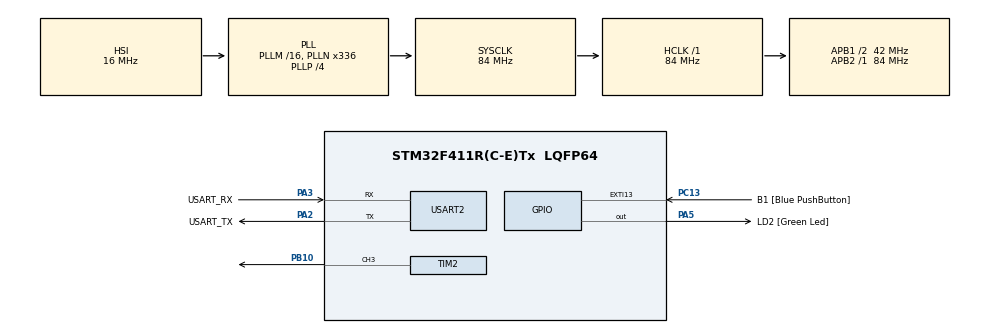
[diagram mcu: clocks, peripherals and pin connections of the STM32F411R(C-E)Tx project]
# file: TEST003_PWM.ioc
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Mcu.Family=STM32F4
Mcu.Name=STM32F411R(C-E)Tx
Mcu.Package=LQFP64
NVIC.EXTI15_10_IRQn=true\:0\:0\:false\:false\:true\:true\:true\:true
NVIC.PriorityGroup=NVIC_PRIORITYGROUP_0
PA13.GPIO_Label=TMS
PA13.Mode=Serial_Wire
PA13.Signal=SYS_JTMS-SWDIO
PA14.GPIO_Label=TCK
PA14.Mode=Serial_Wire
PA14.Signal=SYS_JTCK-SWCLK
PA2.GPIO_Label=USART_TX
PA2.Mode=Asynchronous
PA2.Signal=USART2_TX
PA3.GPIO_Label=USART_RX
PA3.Mode=Asynchronous
PA3.Signal=USART2_RX
PA5.GPIO_Label=LD2 [Green Led]
PA5.Signal=GPIO_Output
PB10.Signal=S_TIM2_CH3
PB3.GPIO_Label=SWO
PB3.Signal=SYS_JTDO-SWO
PC13-ANTI_TAMP.GPIO_Label=B1 [Blue PushButton]
PC13-ANTI_TAMP.GPIO_ModeDefaultEXTI=GPIO_MODE_IT_FALLING
PC13-ANTI_TAMP.Signal=GPXTI13
PC14-OSC32_IN.Mode=LSE-External-Oscillator
PC14-OSC32_IN.Signal=RCC_OSC32_IN
PC15-OSC32_OUT.Mode=LSE-External-Oscillator
PC15-OSC32_OUT.Signal=RCC_OSC32_OUT
PH0\ -\ OSC_IN.Mode=HSE-External-Clock-Source
PH0\ -\ OSC_IN.Signal=RCC_OSC_IN
PH1\ -\ OSC_OUT.Mode=HSE-External-Clock-Source
PH1\ -\ OSC_OUT.Signal=RCC_OSC_OUT
ProjectManager.HeapSize=0x200
ProjectManager.StackSize=0x400
ProjectManager.TargetToolchain=STM32CubeIDE
RCC.48MHZClocksFreq_Value=84000000
RCC.AHBFreq_Value=84000000
RCC.APB1CLKDivider=RCC_HCLK_DIV2
RCC.APB1Freq_Value=42000000
RCC.APB1TimFreq_Value=84000000
RCC.APB2Freq_Value=84000000
RCC.APB2TimFreq_Value=84000000
RCC.CortexFreq_Value=84000000
RCC.FLatency-AdvancedSettings=FLASH_LATENCY_2
RCC.HCLKFreq_Value=84000000
RCC.HSE_VALUE=8000000
RCC.HSI_VALUE=16000000
RCC.PLLN=336
RCC.PLLP=RCC_PLLP_DIV4
RCC.SYSCLKFreq_VALUE=84000000
RCC.SYSCLKSource=RCC_SYSCLKSOURCE_PLLCLK
RCC.VCOOutputFreq_Value=336000000
SH.S_TIM2_CH3.0=TIM2_CH3,PWM Generation3 CH3
TIM2.Channel-PWM\ Generation3\ CH3=TIM_CHANNEL_3
TIM2.Period=(1000)-1
TIM2.Prescaler=8400-1
USART2.VirtualMode=VM_ASYNC
board=NUCLEO-F411RE

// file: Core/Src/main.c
/* USER CODE BEGIN Header */
/**
  ******************************************************************************
  * @file           : main.c
  * @brief          : Main program body
  ******************************************************************************
  * @attention
  *
  * Copyright (c) 2024 STMicroelectronics.
  * All rights reserved.
  *
  * This software is licensed under terms that can be found in the LICENSE file
  * in the root directory of this software component.
  * If no LICENSE file comes with this software, it is provided AS-IS.
  *
  ******************************************************************************
  */
/* USER CODE END Header */
#include "main.h"

TIM_HandleTypeDef htim2;

UART_HandleTypeDef huart2;

void SystemClock_Config(void);
static void MX_GPIO_Init(void);
static void MX_USART2_UART_Init(void);
static void MX_TIM2_Init(void);

/* USER CODE BEGIN 0 */
int mux;
//float mux2;
enum { Do = 0, Re, Mi, Fa, Sol, La ,Ci}; //치환 D0
double pitchF[] = {523.25, 587.32, 659.25, 698.45, 783.99, 880, 987.76};
int p3[7];
int arr = 1000, clk = 84000000L;
void calcPitch() //PSC value
{
	for(int i = 0; i < 7; i++)
	{
		p3[i] = clk / (pitchF[i] * arr / 2);
	}
}

void PlaySound(int pIdx, int rtm)
{
	htim2.Instance ->PSC = p3[pIdx];	 //실변수는 .
	HAL_Delay(2000 / rtm);
}

int Song[] = {Sol,Sol,Mi,Fa,Sol,La,La,Sol,-1};

int Rythm[] = {4,4,8,8,4,4,4,2};

/*void HAL_GPIO_EXTI_Callback(uint16_t GPIO_Pin)
{
	if (++mux > 20) mux = 1;
}*/

/* USER CODE END 0 */

int main(void)
{

  /* MCU Configuration--------------------------------------------------------*/

  /* Reset of all peripherals, Initializes the Flash interface and the Systick. */
  HAL_Init();

  /* Configure the system clock */
  SystemClock_Config();

  /* Initialize all configured peripherals */
  MX_GPIO_Init();
  MX_USART2_UART_Init();
  MX_TIM2_Init();
  /* USER CODE BEGIN 2 */
  ProgramStart("Song");
  calcPitch();
  HAL_TIM_PWM_Start(&htim2, TIM_CHANNEL_3);
  htim2.Instance->CCR3 = htim2.Instance -> ARR / 2; //Duty rate select -> 50%

  /* USER CODE END 2 */

  /* Infinite loop */
  /* USER CODE BEGIN WHILE */
  int sn = 2800;
  mux = 1;
  while (1)
  {
    /* USER CODE END WHILE */

    /* USER CODE BEGIN 3 */

	  //while(Song[i] != -1/*수행조건식*/) for문과 same
	  htim2.Instance->CCR3 = htim2.Instance -> ARR / 2; //Duty rate select -> 50%
	  for (int i = 0; Song[i] != -1; i++)
	  {
		  PlaySound(Song[i], Rythm[i]);
	  }
	  htim2.Instance -> CCR3 = 0; //Duty rate = 0;
	  printf("연주가 끝났습니다. B1 버튼을 누르시면 다시 시작됩니다...\r\n");
	  Wait();
	  HAL_TIM_PWM_Start(&htim2, TIM_CHANNEL_3);

	  //htim2.Instance->PSC = sn / mux;
	  //int f = 84000000L/(htim2.Instance->PSC * htim2.Instance->ARR);
	  //printf("Current Frequency : %d\r\n", f);
  }
  /* USER CODE END 3 */
}

void SystemClock_Config(void)
{
  RCC_OscInitTypeDef RCC_OscInitStruct = {0};
  RCC_ClkInitTypeDef RCC_ClkInitStruct = {0};

  /** Configure the main internal regulator output voltage
  */
  __HAL_RCC_PWR_CLK_ENABLE();
  __HAL_PWR_VOLTAGESCALING_CONFIG(PWR_REGULATOR_VOLTAGE_SCALE1);

  /** Initializes the RCC Oscillators according to the specified parameters
  * in the RCC_OscInitTypeDef structure.
  */
  RCC_OscInitStruct.OscillatorType = RCC_OSCILLATORTYPE_HSI;
  RCC_OscInitStruct.HSIState = RCC_HSI_ON;
  RCC_OscInitStruct.HSICalibrationValue = RCC_HSICALIBRATION_DEFAULT;
  RCC_OscInitStruct.PLL.PLLState = RCC_PLL_ON;
  RCC_OscInitStruct.PLL.PLLSource = RCC_PLLSOURCE_HSI;
  RCC_OscInitStruct.PLL.PLLM = 16;
  RCC_OscInitStruct.PLL.PLLN = 336;
  RCC_OscInitStruct.PLL.PLLP = RCC_PLLP_DIV4;
  RCC_OscInitStruct.PLL.PLLQ = 4;
  if (HAL_RCC_OscConfig(&RCC_OscInitStruct) != HAL_OK)
  {
    Error_Handler();
  }

  /** Initializes the CPU, AHB and APB buses clocks
  */
  RCC_ClkInitStruct.ClockType = RCC_CLOCKTYPE_HCLK|RCC_CLOCKTYPE_SYSCLK
                              |RCC_CLOCKTYPE_PCLK1|RCC_CLOCKTYPE_PCLK2;
  RCC_ClkInitStruct.SYSCLKSource = RCC_SYSCLKSOURCE_PLLCLK;
  RCC_ClkInitStruct.AHBCLKDivider = RCC_SYSCLK_DIV1;
  RCC_ClkInitStruct.APB1CLKDivider = RCC_HCLK_DIV2;
  RCC_ClkInitStruct.APB2CLKDivider = RCC_HCLK_DIV1;

  if (HAL_RCC_ClockConfig(&RCC_ClkInitStruct, FLASH_LATENCY_2) != HAL_OK)
  {
    Error_Handler();
  }
}

static void MX_TIM2_Init(void)
{

  TIM_MasterConfigTypeDef sMasterConfig = {0};
  TIM_OC_InitTypeDef sConfigOC = {0};

  htim2.Instance = TIM2;
  htim2.Init.Prescaler = 8400-1;
  htim2.Init.CounterMode = TIM_COUNTERMODE_UP;
  htim2.Init.Period = (1000)-1;
  htim2.Init.ClockDivision = TIM_CLOCKDIVISION_DIV1;
  htim2.Init.AutoReloadPreload = TIM_AUTORELOAD_PRELOAD_DISABLE;
  if (HAL_TIM_PWM_Init(&htim2) != HAL_OK)
  {
    Error_Handler();
  }
  sMasterConfig.MasterOutputTrigger = TIM_TRGO_RESET;
  sMasterConfig.MasterSlaveMode = TIM_MASTERSLAVEMODE_DISABLE;
  if (HAL_TIMEx_MasterConfigSynchronization(&htim2, &sMasterConfig) != HAL_OK)
  {
    Error_Handler();
  }
  sConfigOC.OCMode = TIM_OCMODE_PWM1;
  sConfigOC.Pulse = 0;
  sConfigOC.OCPolarity = TIM_OCPOLARITY_HIGH;
  sConfigOC.OCFastMode = TIM_OCFAST_DISABLE;
  if (HAL_TIM_PWM_ConfigChannel(&htim2, &sConfigOC, TIM_CHANNEL_3) != HAL_OK)
  {
    Error_Handler();
  }
  HAL_TIM_MspPostInit(&htim2);

}

static void MX_USART2_UART_Init(void)
{

  huart2.Instance = USART2;
  huart2.Init.BaudRate = 115200;
  huart2.Init.WordLength = UART_WORDLENGTH_8B;
  huart2.Init.StopBits = UART_STOPBITS_1;
  huart2.Init.Parity = UART_PARITY_NONE;
  huart2.Init.Mode = UART_MODE_TX_RX;
  huart2.Init.HwFlowCtl = UART_HWCONTROL_NONE;
  huart2.Init.OverSampling = UART_OVERSAMPLING_16;
  if (HAL_UART_Init(&huart2) != HAL_OK)
  {
    Error_Handler();
  }

}

static void MX_GPIO_Init(void)
{
  GPIO_InitTypeDef GPIO_InitStruct = {0};

  /* GPIO Ports Clock Enable */
  __HAL_RCC_GPIOC_CLK_ENABLE();
  __HAL_RCC_GPIOH_CLK_ENABLE();
  __HAL_RCC_GPIOA_CLK_ENABLE();
  __HAL_RCC_GPIOB_CLK_ENABLE();

  /*Configure GPIO pin Output Level */
  HAL_GPIO_WritePin(LD2_GPIO_Port, LD2_Pin, GPIO_PIN_RESET);

  /*Configure GPIO pin : B1_Pin */
  GPIO_InitStruct.Pin = B1_Pin;
  GPIO_InitStruct.Mode = GPIO_MODE_IT_FALLING;
  GPIO_InitStruct.Pull = GPIO_NOPULL;
  HAL_GPIO_Init(B1_GPIO_Port, &GPIO_InitStruct);

  /*Configure GPIO pin : LD2_Pin */
  GPIO_InitStruct.Pin = LD2_Pin;
  GPIO_InitStruct.Mode = GPIO_MODE_OUTPUT_PP;
  GPIO_InitStruct.Pull = GPIO_NOPULL;
  GPIO_InitStruct.Speed = GPIO_SPEED_FREQ_LOW;
  HAL_GPIO_Init(LD2_GPIO_Port, &GPIO_InitStruct);

  /* EXTI interrupt init*/
  HAL_NVIC_SetPriority(EXTI15_10_IRQn, 0, 0);
  HAL_NVIC_EnableIRQ(EXTI15_10_IRQn);

}

void Error_Handler(void)
{
  __disable_irq();
  while (1)
  {
  }
}
